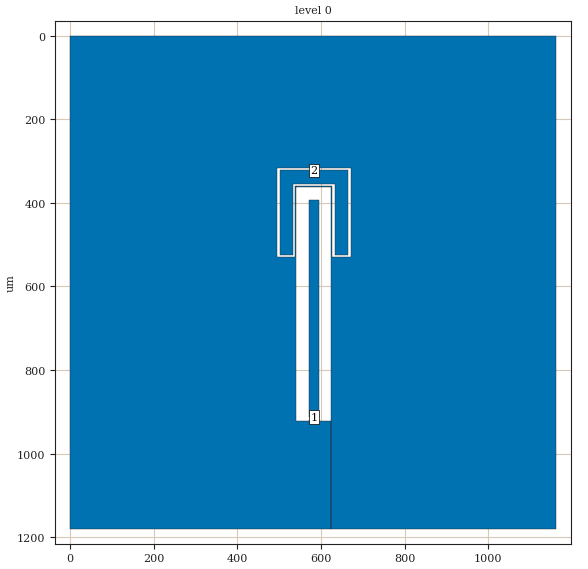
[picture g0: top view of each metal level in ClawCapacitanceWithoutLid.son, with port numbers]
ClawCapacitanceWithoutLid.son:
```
FTYP SONPROJ 15 ! Sonnet Project File
VER 16.52
HEADER
LIC calt2.2.43068 b6ae2bd1257f DESKTOP-SL82IK9 Michael
DAT 07/15/2016 11:52:11
BUILT_BY_CREATED xgeom 16.52 04/11/2016 14:48:12
BUILT_BY_SAVED xgeom 16.52
MDATE 07/15/2016 11:52:11
HDATE 07/15/2016 11:52:11
END HEADER
DIM
FREQ GHZ
IND NH
LNG UM
ANG DEG
CON /OH
CAP PF
RES OH
END DIM
FREQ
ABS 5.0 26.0 
STEP 0.1
END FREQ
CONTROL
STD
OPTIONS  -d 
SPEED 0
CACHE_ABS 1
TARG_ABS 300
Q_ACC N
END CONTROL
GEO
DRP1 RIGHT FIX 100
TMET "Free Space" 0 FREESPACE 376.7303136 0 0 0
BMET "Lossless" 0 SUP 0 0 0 0
BOX 1 1162 1180 2324 2360 20 0
      1000 1 1 0 0 0 0 "Unnamed"
      500 11.9 1 5e-006 0 0 0 "Silicon (intrinsic)"
VALVAR gap LNG 6 "Dim. Param."
VALVAR thickness NONE 32 "Dim. Param."
VALVAR ClawLength NONE 170 "Dim. Param."
LORGN 436 565 U 
POR1 AGND
POLY 10 1
12
1 50 0 0 0 583 912 NONE 
POR1 AGND
POLY 14 1
0
2 50 0 0 0 583 322 NONE 
NUM 3
0 17 -1 N 10 1 1 100 100 0 0 0 Y
592 914
590 914
590 912
595 912
595 392
571 392
571 912
576 912
576 914
574 914
574 916
578 916
578 912
588 912
588 916
592 916
592 914
END
0 35 -1 N 13 1 1 100 100 0 0 0 Y
1163 0
0 0
0 1180
625 1180
625 923
594 923
594 919
590 919
590 921
592 921
592 923
574 923
574 921
576 921
576 919
572 919
572 923
541 923
541 362
541 360
539 360
539 530
495 530
495 316
671 316
671 530
627 530
627 360
541 360
541 362
625 362
625 923
625 1180
1163 1180
1163 0
END
0 9 -1 N 14 1 1 100 100 0 0 0 Y
665 322
501 322
501 524
533 524
533 354
633 354
633 524
665 524
665 322
END
END GEO
OPT
MAX 100
VARS
VAR gap N UNDEF UNDEF UNDEF
VAR thickness N UNDEF UNDEF UNDEF
VAR ClawLength N UNDEF UNDEF UNDEF
END
END OPT
VARSWP
STEP 0.1
VAR gap N 6.0 6.0 UNDEF
VAR thickness Y 28.0 32.0 4.0
VAR ClawLength Y 120.0 200.0 40.0
END
END VARSWP
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```
